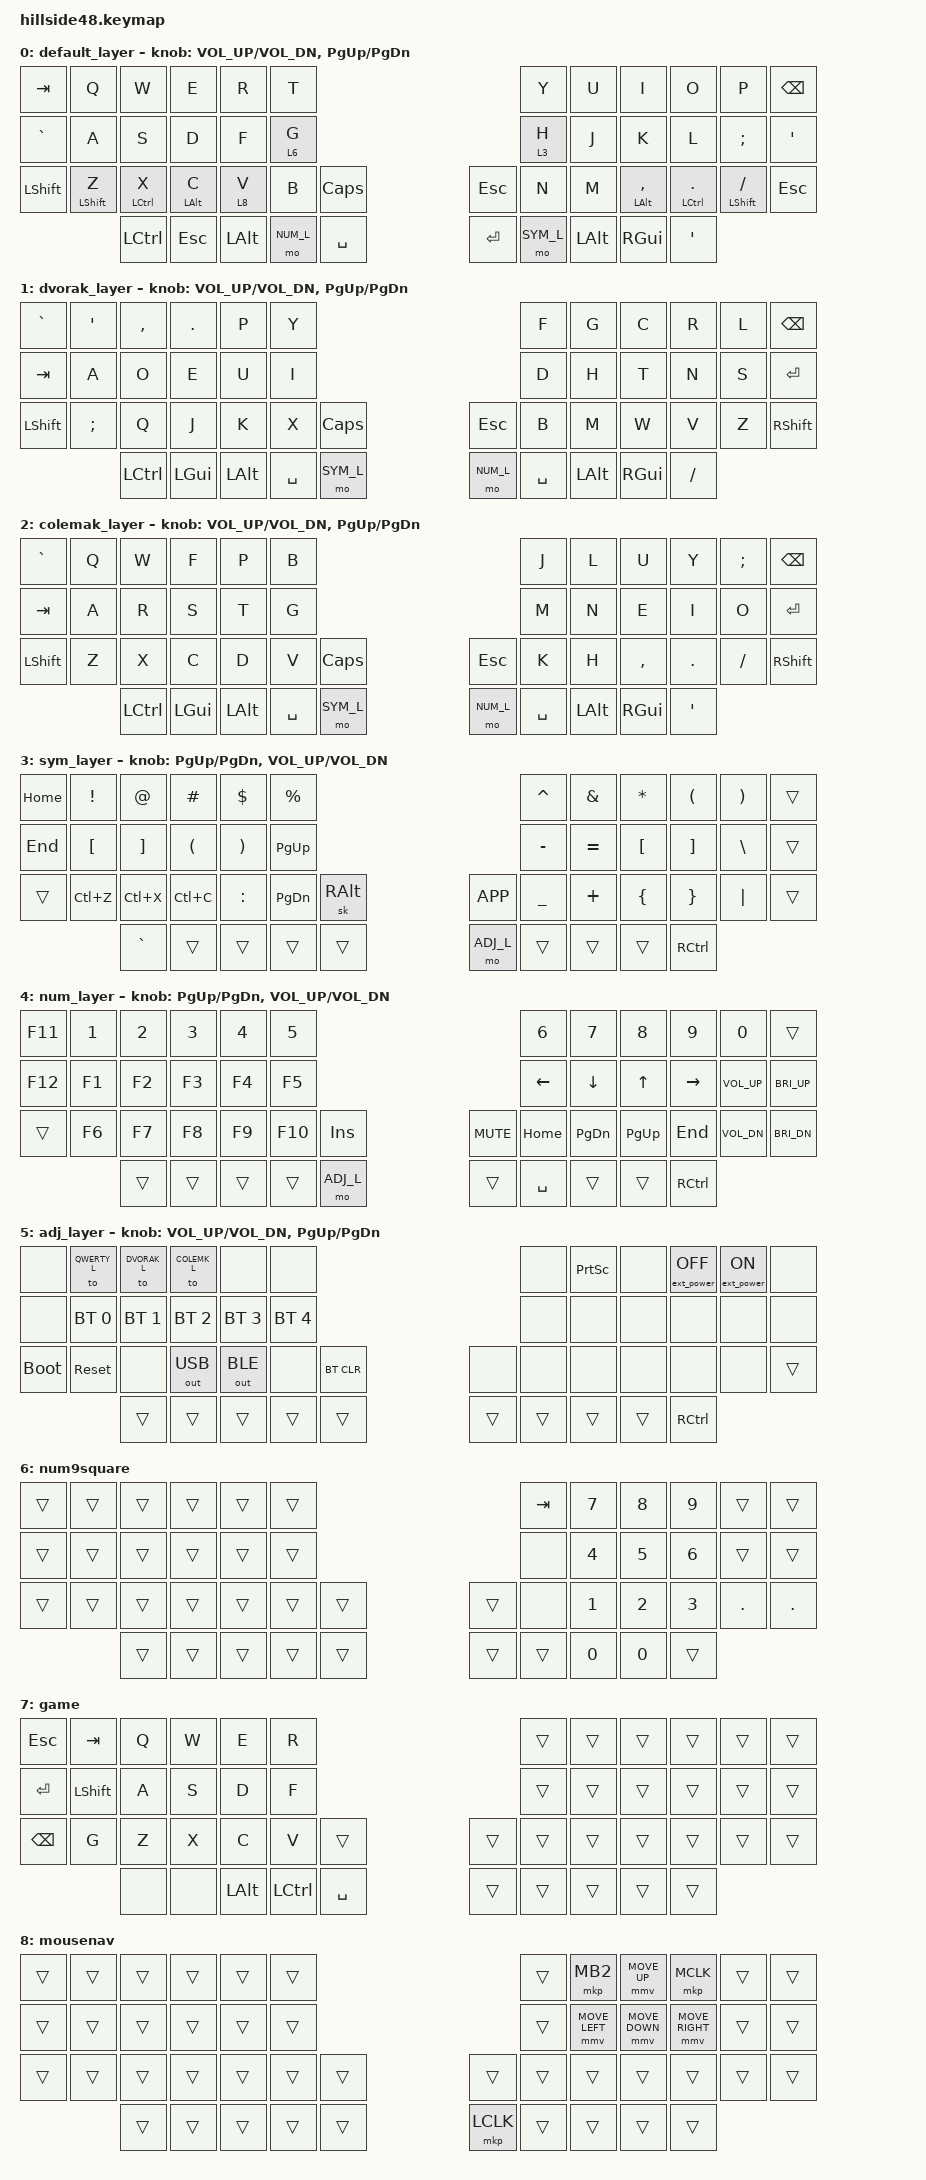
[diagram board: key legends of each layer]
/*
 * Copyright (c) 2022 The ZMK Contributors
 *
 * SPDX-License-Identifier: MIT
 */
// include all of the new mouse things

#include <behaviors/mouse_keys.dtsi>
#include <behaviors.dtsi>
#include <dt-bindings/zmk/bt.h>
#include <dt-bindings/zmk/ext_power.h>
#include <dt-bindings/zmk/keys.h>
#include <dt-bindings/zmk/mouse.h>
#include <dt-bindings/zmk/outputs.h>
// include all of the new mouse things
#include <behaviors/mouse_keys.dtsi>

// make mouse a bit faster
#define ZMK_MOUSE_DEFAULT_MOVE_VAL 800  // 600

#define QWERTY_L 0
#define DVORAK_L 1
#define COLEMK_L 2
#define SYM_L    3
#define NUM_L    4
#define ADJ_L    5
#define Undo   LC(Z)
#define Cut    LC(X)
#define Copy   LC(C)
#define Paste  LC(V)

/ {
    combos {
        compatible = "zmk,combos";

        navon {
            bindings = <&tog 4>;
            key-positions = <7 8 9>;
        };

        gameon {
            bindings = <&tog 7>;
            key-positions = <1 2 3 4>;
        };

        capsword {
            bindings = <&caps_word>;
            key-positions = <19 20 21>;
        };
    };

    keymap {
        compatible = "zmk,keymap";

        default_layer {
            /* QWERTY
 * -------------------------------------------------------------------------------------------------------------------------------------
 * | TAB   |   Q   |   W   |   E   |   R   |   T   |-----------------------------------|   Y   |   U   |   I   |   O   |   P   | BKSPC |
 * | TAB   |  A  |  S  |  D  |   F   |   G   |-----------------------------------|   H   |   J   |   K   |   L   |   ;   | ENTER |
 * | SHIFT |   s/Z   |   c/X   |   a/C   |   V   |   B   | CAPS  |-------------------|  ESC  |   N   |   M   |   ,   |   .   |   /   | SHIFT |
 * ----------------| CTRL  |-------|  ESC  |  ALT  | Sym  |  SPACE |---|  Num  | ENTER |  ALT  |  GUI  |-------|   '   |----------------
 */

            bindings = <
&kp TAB    &kp Q         &kp W        &kp E       &kp R    &kp T                                                 &kp Y     &kp U     &kp I           &kp O          &kp P             &kp BSPC
&kp GRAVE  &kp A         &kp S        &kp D       &kp F    &lt 6 G                                               &lt 3 H   &kp J     &kp K           &kp L          &kp SEMI          &kp SQT
&kp LSHFT  &mt LSHIFT Z  &mt LCTRL X  &mt LALT C  &lt 8 V  &kp B     &kp CAPS                         &kp ESC    &kp N     &kp M     &mt LALT COMMA  &mt LCTRL DOT  &mt LSHIFT SLASH  &kp ESC
                         &kp LCTRL                &kp ESC  &kp LALT  &mo NUM_L  &kp SPACE  &kp ENTER  &mo SYM_L  &kp LALT  &kp RGUI                  &kp SQT
            >;

            sensor-bindings = <&inc_dec_kp C_VOL_UP C_VOL_DN &inc_dec_kp PG_UP PG_DN>;
        };

        dvorak_layer {
            /* DVORAK
 * -------------------------------------------------------------------------------------------------------------------------------------
 * | `     |   '   |   ,   |   .   |   P   |   Y   |-----------------------------------|   F   |   G   |   C   |   R   |   L   | BKSPC |
 * | TAB   |   A   |   O   |   E   |   U   |   I   |-----------------------------------|   D   |   H   |   T   |   N   |   S   | ENTER |
 * | SHIFT |   ;   |   Q   |   J   |   K   |   X   | CAPS  |-------------------|  ESC  |   B   |   M   |   W   |   V   |   Z   | SHIFT |
 * ----------------| CTRL  |-------|  GUI  |  ALT  | SPACE |  Sym  |---|  Num  | SPACE |  ALT  |  GUI  |-------|   /   |----------------
 */

            bindings = <
&kp GRAVE  &kp SQT   &kp COMMA  &kp DOT  &kp P     &kp Y                                                 &kp F     &kp G     &kp C  &kp R      &kp L  &kp BSPC
&kp TAB    &kp A     &kp O      &kp E    &kp U     &kp I                                                 &kp D     &kp H     &kp T  &kp N      &kp S  &kp ENTER
&kp LSHFT  &kp SEMI  &kp Q      &kp J    &kp K     &kp X     &kp CAPS                         &kp ESC    &kp B     &kp M     &kp W  &kp V      &kp Z  &kp RSHFT
                     &kp LCTRL           &kp LGUI  &kp LALT  &kp SPACE  &mo SYM_L  &mo NUM_L  &kp SPACE  &kp LALT  &kp RGUI         &kp SLASH
            >;

            sensor-bindings = <&inc_dec_kp C_VOL_UP C_VOL_DN &inc_dec_kp PG_UP PG_DN>;
        };

        colemak_layer {
            /* COLEMAK-DH
 * -------------------------------------------------------------------------------------------------------------------------------------
 * | `     |   Q   |   W   |   F   |   P   |   B   |-----------------------------------|   J   |   L   |   U   |   Y   |   ;   | BKSPC |
 * | TAB   |   A   |   R   |   S   |   T   |   G   |-----------------------------------|   M   |   N   |   E   |   I   |   O   | ENTER |
 * | SHIFT |   Z   |   X   |   C   |   D   |   V   | CAPS  |-------------------|  ESC  |   K   |   H   |   ,   |   .   |   /   | SHIFT |
 * ----------------| CTRL  |-------|  GUI  |  ALT  | SPACE |  Sym  |---|  Num  | SPACE |  ALT  |  GUI  |-------|   '   |----------------
 */

            bindings = <
&kp GRAVE  &kp Q  &kp W      &kp F  &kp P     &kp B                                                 &kp J     &kp L     &kp U      &kp Y    &kp SEMI   &kp BSPC
&kp TAB    &kp A  &kp R      &kp S  &kp T     &kp G                                                 &kp M     &kp N     &kp E      &kp I    &kp O      &kp ENTER
&kp LSHFT  &kp Z  &kp X      &kp C  &kp D     &kp V     &kp CAPS                         &kp ESC    &kp K     &kp H     &kp COMMA  &kp DOT  &kp SLASH  &kp RSHFT
                  &kp LCTRL         &kp LGUI  &kp LALT  &kp SPACE  &mo SYM_L  &mo NUM_L  &kp SPACE  &kp LALT  &kp RGUI             &kp SQT
            >;

            sensor-bindings = <&inc_dec_kp C_VOL_UP C_VOL_DN &inc_dec_kp PG_UP PG_DN>;
        };

        sym_layer {
            /* SYM
 * -------------------------------------------------------------------------------------------------------------------------------------
 * | HOME  |   !   |   @   |   #   |   $   |   %   |-----------------------------------|   ^   |   &   |   *   |   (   |   )   | BSPC  |
 * | END   |  GUI  |  Alt  | Ctrl  | Shift | Pg Up |-----------------------------------|   -   |   =   |   [   |   ]   |   \   | ENTER |
 * | Shift |  UnDo |  Cut  | Copy  | Paste | Pg Dn |OsAltGr|-------------------| MENU  |   _   |   +   |   {   |   }   |   |   | SHIFT |
 * ----------------|       |-------|       |       |       |       |---| ADJ_L |       |       |       |-------| CTRL  |----------------
 */

            bindings = <
&kp HOME  &kp EXCL          &kp AT             &kp HASH              &kp DOLLAR             &kp PERCENT                                          &kp CARET  &kp AMPS   &kp ASTRK  &kp LPAR   &kp RPAR  &trans
&kp END   &kp LEFT_BRACKET  &kp RIGHT_BRACKET  &kp LEFT_PARENTHESIS  &kp RIGHT_PARENTHESIS  &kp PG_UP                                            &kp MINUS  &kp EQUAL  &kp LBKT   &kp RBKT   &kp BSLH  &trans
&trans    &kp Undo          &kp Cut            &kp Copy              &kp COLON              &kp PG_DN    &sk RALT                     &kp K_APP  &kp UNDER  &kp PLUS   &kp LBRC   &kp RBRC   &kp PIPE  &trans
                            &kp GRAVE                                &trans                 &trans       &trans    &trans  &mo ADJ_L  &trans     &trans     &trans                &kp RCTRL
            >;

            sensor-bindings = <&inc_dec_kp PG_UP PG_DN &inc_dec_kp C_VOL_UP C_VOL_DN>;
        };

        num_layer {
            /* NUM   
 * -------------------------------------------------------------------------------------------------------------------------------------
 * | F11   |   1   |   2   |   3   |   4   |   5   |-----------------------------------|   6   |   7   |   8   |   9   |       | BSPC  |
 * | F12   |  F1   |  F2   |  F3   |  F4   |  F5   |-----------------------------------| Left  | Down  |  Up   | Right | GUI   | ENTER |
 * | Shift |  F6   |  F7   |  F8   |  F9   |  F10  |  INS  |-------------------| MUTE  |VOL DN | VOL UP| BRI DN | BRI_UP | PERIOD | DELETE|
 * ----------------|       |-------|       |       |       | ADJ_L |---|       |       |       |       |-------| CTRL  |----------------
 */

            bindings = <
&kp F11  &kp N1  &kp N2  &kp N3  &kp N4  &kp N5                                           &kp N6    &kp N7         &kp N8        &kp N9     &kp N0           &trans
&kp F12  &kp F1  &kp F2  &kp F3  &kp F4  &kp F5                                           &kp LEFT  &kp DOWN     &kp UP   &kp RIGHT  &kp C_VOLUME_UP  &kp C_BRI_UP
&trans   &kp F6  &kp F7  &kp F8  &kp F9  &kp F10  &kp INS                     &kp C_MUTE  &kp HOME  &kp PAGE_DOWN  &kp PAGE_UP   &kp END    &kp C_VOL_DN     &kp C_BRI_DN
                 &trans          &trans  &trans   &trans   &mo ADJ_L  &trans  &kp SPACE   &trans    &trans                       &kp RCTRL
            >;

            sensor-bindings = <&inc_dec_kp PG_UP PG_DN &inc_dec_kp C_VOL_UP C_VOL_DN>;
        };

        adj_layer {
            /* ADJUST
 * -------------------------------------------------------------------------------------------------------------------------------------
 * |       | QWERTY| DVORAK| COLEMK|       |       |-----------------------------------|       |Prt Scr|       | EP_OFF| EP_ON |       |
 * |       | BT 0  | BT 1  | BT 2  | BT 3  | BT 4  |-----------------------------------|       |       |       |       |       |       |
 * | BOOTL | RESET |       |OUT_USB|OUT_BLE|       |BT CLR |-------------------|       |       |       |       |       |       | SHIFT |
 * ----------------|       |-------|       |       |       |       |---|       |       |       |       |-------| CTRL  |----------------
 */

            bindings = <
&none        &to QWERTY_L  &to DVORAK_L  &to COLEMK_L  &none         &none                                             &none   &kp PRINTSCREEN  &none  &ext_power EP_OFF  &ext_power EP_ON  &none
&none        &bt BT_SEL 0  &bt BT_SEL 1  &bt BT_SEL 2  &bt BT_SEL 3  &bt BT_SEL 4                                      &none   &none            &none  &none              &none             &none
&bootloader  &sys_reset    &none         &out OUT_USB  &out OUT_BLE  &none         &bt BT_CLR                  &none   &none   &none            &none  &none              &none             &trans
                           &trans                      &trans        &trans        &trans      &trans  &trans  &trans  &trans  &trans                  &kp RCTRL
            >;

            sensor-bindings = <&inc_dec_kp C_VOL_UP C_VOL_DN &inc_dec_kp PG_UP PG_DN>;
        };

        num9square {
            bindings = <
&trans  &trans  &trans  &trans  &trans  &trans                                  &kp TAB  &kp N7  &kp N8  &kp N9  &trans   &trans
&trans  &trans  &trans  &trans  &trans  &trans                                  &none    &kp N4  &kp N5  &kp N6  &trans   &trans
&trans  &trans  &trans  &trans  &trans  &trans  &trans                  &trans  &none    &kp N1  &kp N2  &kp N3  &kp DOT  &kp DOT
                &trans          &trans  &trans  &trans  &trans  &trans  &trans  &kp N0   &kp N0          &trans
            >;
        };

        game {
            bindings = <
&kp ESC   &kp TAB    &kp Q  &kp W  &kp E  &kp R                                           &trans  &trans  &trans  &trans  &trans  &trans
&kp RET   &kp LSHFT  &kp A  &kp S  &kp D  &kp F                                           &trans  &trans  &trans  &trans  &trans  &trans
&kp BSPC  &kp G      &kp Z  &kp X  &kp C  &kp V     &trans                        &trans  &trans  &trans  &trans  &trans  &trans  &trans
                     &none         &none  &kp LALT  &kp LCTRL  &kp SPACE  &trans  &trans  &trans  &trans          &trans
            >;
        };

        mousenav {
            bindings = <
&trans  &trans  &trans  &trans  &trans  &trans                                     &trans  &mkp MB2  &mmv MOVE_UP  &mkp MCLK  &trans  &trans
&trans  &trans  &trans  &trans  &trans  &trans                                     &trans  &mmv MOVE_LEFT  &mmv MOVE_DOWN  &mmv MOVE_RIGHT   &trans  &trans
&trans  &trans  &trans  &trans  &trans  &trans  &trans                     &trans  &trans  &trans    &trans    &trans     &trans  &trans
                &trans          &trans  &trans  &trans  &trans  &mkp LCLK  &trans  &trans  &trans              &trans
            >;
        };
    };
};
